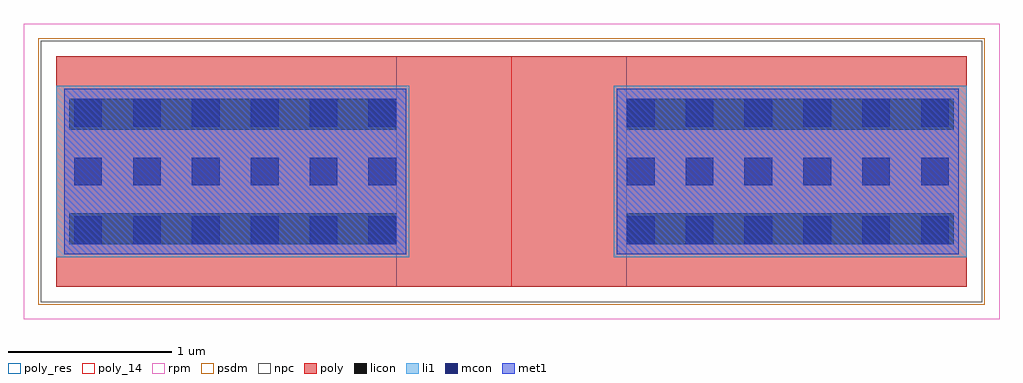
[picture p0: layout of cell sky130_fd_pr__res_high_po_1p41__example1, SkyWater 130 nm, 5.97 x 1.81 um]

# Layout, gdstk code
from math import pi, radians
import gdstk
lib = gdstk.Library(unit=1e-6, precision=1e-09)
def R(c, l, rs):  # rectangles x0, y0, x1, y1
    for r in rs: c.add(gdstk.rectangle(r[:2], r[2:], *l))
def A(c, l, x, y, w, h, nx, ny, dx, dy):  # array of equal rectangles
    R(c, l, [(x+i*dx, y+j*dy, x+i*dx+w, y+j*dy+h) for i in range(nx) for j in range(ny)])
poly_res = (66, 13)
poly_14 = (66, 14)
poly = (66, 20)
licon = (66, 44)
li1 = (67, 20)
mcon = (67, 44)
met1 = (68, 20)
rpm = (86, 20)
psdm = (94, 20)
npc = (95, 20)

sky130_fd_pr__res_high_p = lib.new_cell('sky130_fd_pr__res_high_pol1m1_1p41__example1')
R(sky130_fd_pr__res_high_p, li1, [(0,0,1.97,0.89)])
A(sky130_fd_pr__res_high_p, mcon, 0, 0, 0.17, 0.17, 6, 3, 0.36, 0.36)
R(sky130_fd_pr__res_high_p, met1, [(-0.06,-0.06,2.03,0.95)])

c_sky130_fd_pr__res_high_p = lib.new_cell('sky130_fd_pr__res_high_pol1_1p41__example1')
R(c_sky130_fd_pr__res_high_p, poly, [(0,0,2.16,1.05)])
R(c_sky130_fd_pr__res_high_p, licon, [(0.08,0.08,2.08,0.27), (0.08,0.78,2.08,0.97)])
R(c_sky130_fd_pr__res_high_p, li1, [(0,0,2.16,1.05)])

c_sky130_fd_pr__res_high_p_ = lib.new_cell('sky130_fd_pr__res_high_po_1p41__example1')
R(c_sky130_fd_pr__res_high_p_, poly_res, [(0,0,1.41,1.41)])
R(c_sky130_fd_pr__res_high_p_, poly_14, [(0.703,0,0.707,1.41)])
R(c_sky130_fd_pr__res_high_p_, poly, [(-2.08,0,3.49,1.41)])
R(c_sky130_fd_pr__res_high_p_, li1, [(-2.08,0.18,0.08,1.23), (1.33,0.18,3.49,1.23)])
R(c_sky130_fd_pr__res_high_p_, met1, [(-2.03,0.2,0.06,1.21), (1.35,0.2,3.44,1.21)])
R(c_sky130_fd_pr__res_high_p_, rpm, [(-2.28,-0.2,3.69,1.61)])
R(c_sky130_fd_pr__res_high_p_, psdm, [(-2.19,-0.11,3.6,1.52)])
R(c_sky130_fd_pr__res_high_p_, npc, [(-2.175,-0.095,3.585,1.505)])
c_sky130_fd_pr__res_high_p_.add(gdstk.Reference(sky130_fd_pr__res_high_p, (1.41,0.26)))
c_sky130_fd_pr__res_high_p_.add(gdstk.Reference(sky130_fd_pr__res_high_p, (0,0.26), rotation=pi, x_reflection=True))
c_sky130_fd_pr__res_high_p_.add(gdstk.Reference(c_sky130_fd_pr__res_high_p, (1.33,0.18)))
c_sky130_fd_pr__res_high_p_.add(gdstk.Reference(c_sky130_fd_pr__res_high_p, (0.08,0.18), rotation=pi, x_reflection=True))

lib.write_gds('sky130_fd_pr__res_high_po_1p41__example1.gds')
